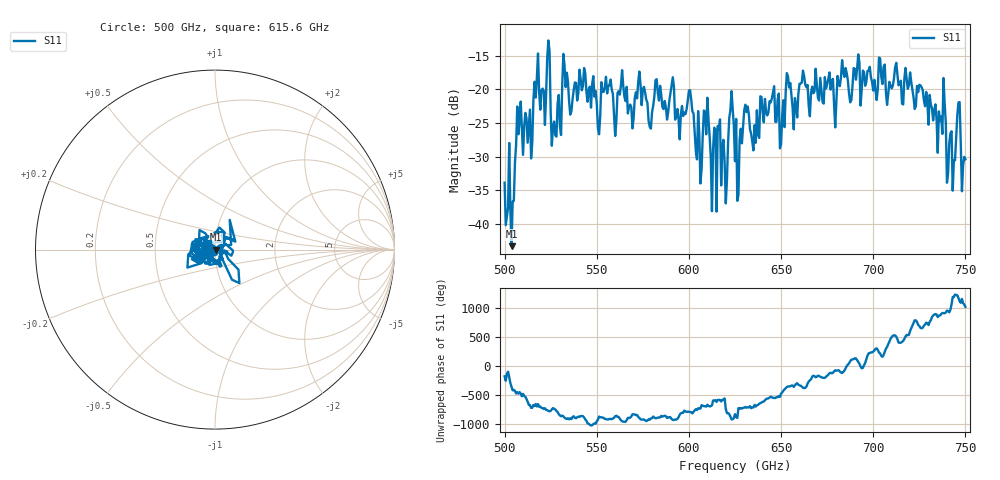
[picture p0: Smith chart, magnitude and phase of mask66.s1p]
!Created with skrf (http://scikit-rf.org).
# GHz S MA R 50.0
!freq magS11 angS11
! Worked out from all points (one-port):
!   401 points, 500 GHz to 750 GHz, reference 50 ohm
!   lowest |S11| = -43.3 dB at 503.8 GHz (marker M1), VSWR 1.01, Z = 50.7 + j0.0172 ohm
!   |S11| at or under -10 dB: start of sweep to end of sweep
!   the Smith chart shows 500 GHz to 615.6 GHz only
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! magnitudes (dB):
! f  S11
! 500 GHz  -33.9
! 503.8 GHz  -43.3
! 507.5 GHz  -26.7
! 513.8 GHz  -23.0
! 516.9 GHz  -21.2
! 523.8 GHz  -12.7
! 526.9 GHz  -24.8
! 531.2 GHz  -19.5
! 562.5 GHz  -20.8
! 579.4 GHz  -25.9
! 590.6 GHz  -19.5
! 593.8 GHz  -22.9
! 600.6 GHz  -20.1
! 605.6 GHz  -26.6
! 609.4 GHz  -26.7
! 613.8 GHz  -25.7
! 616.9 GHz  -24.5
! 618.8 GHz  -27.5
! 623.1 GHz  -20.3
! 625 GHz  -30.7
! 631.2 GHz  -23.4
! 656.2 GHz  -22.7
! 687.5 GHz  -21.9
! 718.8 GHz  -19.9
! 738.1 GHz  -18.3
! 741.9 GHz  -26.6
! 746.2 GHz  -22.0
! 750 GHz  -30.4
